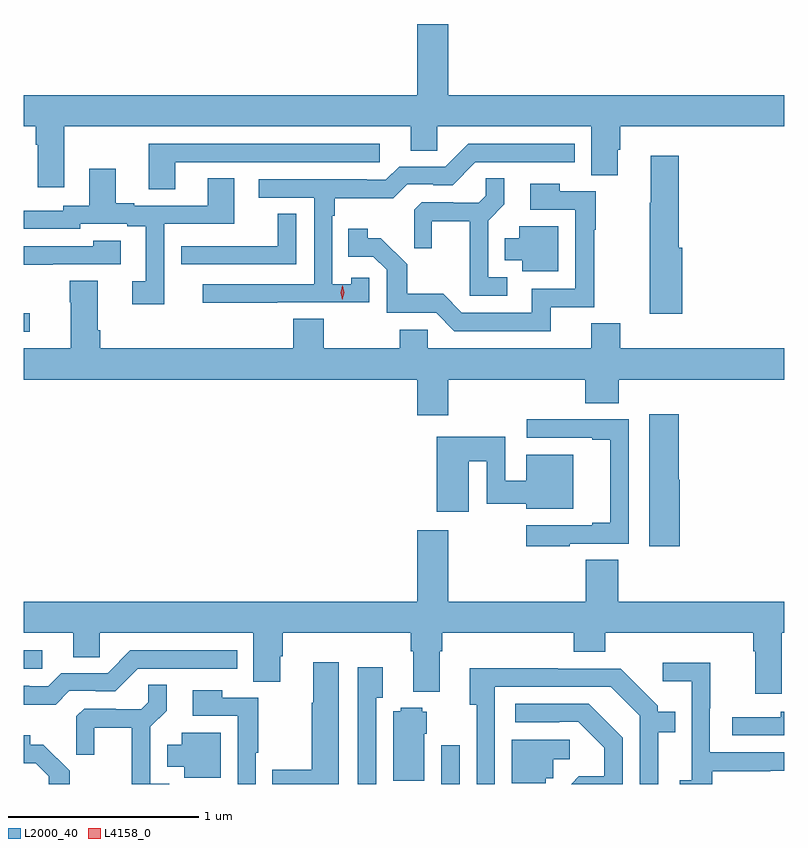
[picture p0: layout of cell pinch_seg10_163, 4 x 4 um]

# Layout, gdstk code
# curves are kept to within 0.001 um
import gdstk
lib = gdstk.Library(unit=1e-6, precision=1e-09)
def R(c, l, rs):  # rectangles x0, y0, x1, y1
    for r in rs: c.add(gdstk.rectangle(r[:2], r[2:], *l))
def P(c, l, *ps):  # polygons
    for p in ps: c.add(gdstk.Polygon(p, *l))
L2000_40 = (2000, 40)
L4158_0 = (4158, 0)

pinch_seg10_163 = lib.new_cell('pinch_seg10_163')
R(pinch_seg10_163, L2000_40, [(692.607,1267.553,692.703,1267.756), (690.411,1268.16,690.508,1268.256), (690.411,1269.933,690.442,1270.029)])
P(pinch_seg10_163, L2000_40, [(690.625,1271.012),(692.447,1271.012),(692.447,1270.885),(692.586,1270.885),(692.586,1271.012),(693.395,1271.012),(693.395,1270.756),(693.535,1270.756),(693.535,1270.89),(693.548,1270.89),(693.548,1271.012),(694.411,1271.012),(694.411,1271.176),(692.644,1271.176),(692.644,1271.551),(692.48,1271.551),(692.48,1271.176),(690.411,1271.176),(690.411,1271.012),(690.473,1271.012),(690.473,1270.916),(690.485,1270.916),(690.485,1270.692),(690.625,1270.692)],
  [(691.207,1270.824),(692.284,1270.824),(692.284,1270.92),(691.067,1270.92),(691.067,1270.681),(691.207,1270.681)],
  [(691.745,1270.086),(692.229,1270.086),(692.229,1270.215),(692.133,1270.215),(692.133,1270.183),(692.034,1270.183),(692.034,1270.541),(692.047,1270.541),(692.047,1270.634),(692.354,1270.634),(692.427,1270.707),(692.566,1270.707),(692.566,1270.704),(692.667,1270.704),(692.787,1270.824),(693.31,1270.824),(693.31,1270.92),(692.748,1270.92),(692.628,1270.8),(692.385,1270.8),(692.316,1270.731),(692.216,1270.731),(692.216,1270.734),(691.647,1270.734),(691.647,1270.638),(691.938,1270.638),(691.938,1270.182),(691.353,1270.182),(691.353,1270.084),(691.745,1270.084)],
  [(693.875,1270.374),(693.857,1270.374),(693.857,1270.858),(693.71,1270.858),(693.71,1270.61),(693.703,1270.61),(693.703,1270.374),(693.704,1270.374),(693.704,1270.026),(693.875,1270.026)],
  [(691.149,1270.5),(691.519,1270.5),(691.519,1270.739),(691.379,1270.739),(691.379,1270.596),(690.991,1270.596),(690.991,1270.609),(690.895,1270.609),(690.895,1270.789),(690.755,1270.789),(690.755,1270.596),(690.618,1270.596),(690.618,1270.569),(690.411,1270.569),(690.411,1270.473),(690.708,1270.473),(690.708,1270.5),(690.956,1270.5),(690.956,1270.488),(691.052,1270.488),(691.052,1270.197),(690.981,1270.197),(690.981,1270.077),(691.149,1270.077)],
  [(692.953,1270.218),(692.853,1270.218),(692.853,1270.517),(692.939,1270.603),(692.939,1270.739),(692.841,1270.739),(692.841,1270.648),(692.804,1270.611),(692.67,1270.611),(692.67,1270.614),(692.505,1270.614),(692.464,1270.573),(692.464,1270.371),(692.558,1270.371),(692.558,1270.514),(692.756,1270.514),(692.756,1270.122),(692.953,1270.122)],
  [(693.182,1270.062),(693.413,1270.062),(693.413,1270.468),(693.421,1270.468),(693.421,1270.671),(693.231,1270.671),(693.231,1270.711),(693.075,1270.711),(693.075,1270.575),(693.312,1270.575),(693.312,1270.158),(693.083,1270.158),(693.083,1270.032),(692.715,1270.032),(692.617,1270.131),(692.428,1270.131),(692.428,1270.286),(692.29,1270.424),(692.22,1270.424),(692.22,1270.474),(692.119,1270.474),(692.119,1270.326),(692.25,1270.326),(692.319,1270.257),(692.319,1270.032),(692.58,1270.032),(692.676,1269.936),(693.182,1269.936)],
  [(691.845,1270.553),(691.747,1270.553),(691.747,1270.383),(691.351,1270.383),(691.351,1270.382),(691.239,1270.382),(691.239,1270.287),(691.845,1270.287)],
  [(693.223,1270.486),(693.017,1270.486),(693.017,1270.423),(692.942,1270.423),(692.942,1270.307),(693.032,1270.307),(693.032,1270.25),(693.223,1270.25)],
  [(690.563,1270.287),(690.922,1270.287),(690.922,1270.411),(690.777,1270.411),(690.777,1270.383),(690.411,1270.383),(690.411,1270.285),(690.563,1270.285)],
  [(692.644,1269.68),(693.365,1269.68),(693.365,1269.556),(693.542,1269.556),(693.542,1269.68),(694.411,1269.68),(694.411,1269.844),(693.548,1269.844),(693.548,1269.977),(693.395,1269.977),(693.395,1269.844),(692.535,1269.844),(692.535,1269.942),(692.389,1269.942),(692.389,1269.844),(691.989,1269.844),(691.989,1270.001),(691.829,1270.001),(691.829,1269.844),(690.812,1269.844),(690.812,1269.94),(690.799,1269.94),(690.799,1270.201),(690.652,1270.201),(690.652,1270.088),(690.659,1270.088),(690.659,1269.844),(690.411,1269.844),(690.411,1269.68),(692.48,1269.68),(692.48,1269.492),(692.644,1269.492)],
  [(693.862,1269.153),(693.857,1269.153),(693.857,1269.499),(693.701,1269.499),(693.701,1268.805),(693.862,1268.805)],
  [(693.284,1268.817),(693.594,1268.817),(693.594,1269.471),(693.281,1269.471),(693.281,1269.473),(693.057,1269.473),(693.057,1269.375),(693.401,1269.375),(693.401,1269.363),(693.497,1269.363),(693.497,1268.926),(693.401,1268.926),(693.401,1268.913),(693.054,1268.913),(693.054,1268.805),(693.284,1268.805)],
  [(692.752,1269.25),(692.847,1269.25),(692.847,1269.028),(693.053,1269.028),(693.053,1269.002),(693.301,1269.002),(693.301,1269.286),(693.053,1269.286),(693.053,1269.147),(692.943,1269.147),(692.943,1269.379),(692.582,1269.379),(692.582,1268.985),(692.752,1268.985)],
  [(694.399,1268.348),(694.411,1268.348),(694.411,1268.512),(693.539,1268.512),(693.539,1268.732),(693.368,1268.732),(693.368,1268.512),(692.644,1268.512),(692.644,1268.887),(692.48,1268.887),(692.48,1268.512),(690.411,1268.512),(690.411,1268.348),(690.671,1268.348),(690.671,1268.221),(690.81,1268.221),(690.81,1268.348),(691.619,1268.348),(691.619,1268.092),(691.759,1268.092),(691.759,1268.226),(691.772,1268.226),(691.772,1268.348),(692.447,1268.348),(692.447,1268.252),(692.459,1268.252),(692.459,1268.039),(692.599,1268.039),(692.599,1268.252),(692.612,1268.252),(692.612,1268.348),(693.305,1268.348),(693.305,1268.249),(693.47,1268.249),(693.47,1268.348),(694.247,1268.348),(694.247,1268.252),(694.259,1268.252),(694.259,1268.028),(694.399,1268.028)],
  [(690.651,1268.043),(690.79,1268.043),(690.79,1268.04),(690.891,1268.04),(691.011,1268.16),(691.534,1268.16),(691.534,1268.256),(690.972,1268.256),(690.852,1268.136),(690.609,1268.136),(690.54,1268.067),(690.44,1268.067),(690.44,1268.07),(690.411,1268.07),(690.411,1267.97),(690.578,1267.97)],
  [(692.068,1268.194),(691.934,1268.194),(691.934,1267.981),(691.927,1267.981),(691.927,1267.629),(691.717,1267.629),(691.717,1267.553),(692.068,1267.553)],
  [(694.033,1267.621),(694.337,1267.621),(694.337,1267.623),(694.411,1267.623),(694.411,1267.719),(694.02,1267.719),(694.02,1267.952),(694.023,1267.952),(694.023,1268.191),(693.771,1268.191),(693.771,1268.093),(693.924,1268.093),(693.924,1267.572),(693.861,1267.572),(693.861,1267.553),(694.033,1267.553)],
  [(692.265,1268.006),(692.299,1268.006),(692.299,1268.167),(692.169,1268.167),(692.169,1267.553),(692.265,1267.553)],
  [(692.889,1268.064),(693.498,1268.064),(693.651,1267.911),(693.651,1267.553),(693.748,1267.553),(693.748,1267.824),(693.839,1267.824),(693.839,1267.933),(693.747,1267.933),(693.747,1267.965),(693.552,1268.16),(693.221,1268.16),(693.221,1268.162),(692.756,1268.162),(692.756,1267.97),(692.793,1267.97),(692.793,1267.553),(692.889,1267.553)],
  [(691.177,1267.554),(691.077,1267.554),(691.077,1267.853),(691.163,1267.939),(691.163,1268.075),(691.065,1268.075),(691.065,1267.984),(691.028,1267.947),(690.894,1267.947),(690.894,1267.95),(690.729,1267.95),(690.688,1267.909),(690.688,1267.707),(690.782,1267.707),(690.782,1267.85),(690.98,1267.85),(690.98,1267.553)],
  [(691.632,1267.717),(691.645,1267.717),(691.645,1268.007),(691.455,1268.007),(691.455,1268.047),(691.299,1268.047),(691.299,1267.911),(691.536,1267.911),(691.536,1267.553),(691.632,1267.553)],
  [(693.561,1267.795),(693.382,1267.974),(692.997,1267.974),(692.997,1267.878),(693.227,1267.878),(693.227,1267.881),(693.327,1267.881),(693.464,1267.744),(693.464,1267.594),(693.331,1267.594),(693.29,1267.553),(693.561,1267.553)],
  [(692.518,1267.818),(692.53,1267.818),(692.53,1267.932),(692.508,1267.932),(692.508,1267.954),(692.394,1267.954),(692.394,1267.936),(692.354,1267.936),(692.354,1267.57),(692.518,1267.57)],
  [(694.411,1267.932),(694.392,1267.932),(694.392,1267.905),(694.137,1267.905),(694.137,1267.809),(694.411,1267.809)],
  [(691.447,1267.822),(691.241,1267.822),(691.241,1267.759),(691.166,1267.759),(691.166,1267.643),(691.256,1267.643),(691.256,1267.586),(691.447,1267.586)],
  [(690.652,1267.622),(690.514,1267.76),(690.444,1267.76),(690.444,1267.81),(690.411,1267.81),(690.411,1267.662),(690.474,1267.662),(690.543,1267.593),(690.543,1267.553),(690.652,1267.553)],
  [(693.156,1267.584),(693.195,1267.584),(693.195,1267.682),(693.283,1267.682),(693.283,1267.785),(692.978,1267.785),(692.978,1267.557),(693.156,1267.557)])
P(pinch_seg10_163, L4158_0, [(692.087,1270.101),(692.087,1270.101),(692.077,1270.137),(692.087,1270.173),(692.088,1270.173),(692.088,1270.173),(692.097,1270.137),(692.087,1270.101)])

lib.write_gds('pinch_seg10_163.gds')
